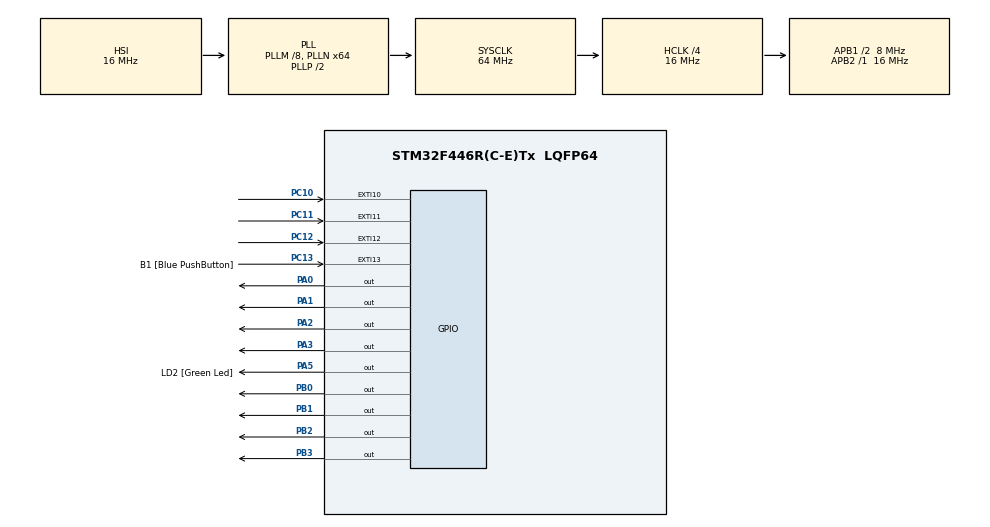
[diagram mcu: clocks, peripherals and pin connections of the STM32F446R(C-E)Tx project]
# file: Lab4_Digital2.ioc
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Mcu.Family=STM32F4
Mcu.Name=STM32F446R(C-E)Tx
Mcu.Package=LQFP64
NVIC.PriorityGroup=NVIC_PRIORITYGROUP_0
PA0-WKUP.Signal=GPIO_Output
PA1.Signal=GPIO_Output
PA13.GPIO_Label=TMS
PA13.Signal=SYS_JTMS-SWDIO
PA14.GPIO_Label=TCK
PA14.Signal=SYS_JTCK-SWCLK
PA2.Signal=GPIO_Output
PA3.Signal=GPIO_Output
PA5.GPIO_Label=LD2 [Green Led]
PA5.Signal=GPIO_Output
PB0.Signal=GPIO_Output
PB1.Signal=GPIO_Output
PB2.Signal=GPIO_Output
PB3.Signal=GPIO_Output
PC10.GPIO_ModeDefaultEXTI=GPIO_MODE_IT_FALLING
PC10.GPIO_PuPd=GPIO_PULLUP
PC10.Signal=GPXTI10
PC11.GPIO_ModeDefaultEXTI=GPIO_MODE_IT_FALLING
PC11.GPIO_PuPd=GPIO_PULLUP
PC11.Signal=GPXTI11
PC12.GPIO_ModeDefaultEXTI=GPIO_MODE_IT_FALLING
PC12.GPIO_PuPd=GPIO_PULLUP
PC12.Signal=GPXTI12
PC13.GPIO_Label=B1 [Blue PushButton]
PC13.GPIO_ModeDefaultEXTI=GPIO_MODE_IT_FALLING
PC13.GPIO_PuPd=GPIO_PULLUP
PC13.Signal=GPXTI13
PC14-OSC32_IN.Signal=RCC_OSC32_IN
PC15-OSC32_OUT.Signal=RCC_OSC32_OUT
PH0-OSC_IN.Signal=RCC_OSC_IN
PH1-OSC_OUT.Signal=RCC_OSC_OUT
ProjectManager.HeapSize=0x200
ProjectManager.StackSize=0x400
ProjectManager.TargetToolchain=STM32CubeIDE
RCC.AHBCLKDivider=RCC_SYSCLK_DIV4
RCC.AHBFreq_Value=16000000
RCC.APB1CLKDivider=RCC_HCLK_DIV2
RCC.APB1Freq_Value=8000000
RCC.APB1TimFreq_Value=16000000
RCC.APB2Freq_Value=16000000
RCC.APB2TimFreq_Value=16000000
RCC.CortexFreq_Value=16000000
RCC.FLatency-AdvancedSettings=FLASH_LATENCY_0
RCC.HCLKFreq_Value=16000000
RCC.HSE_VALUE=8000000
RCC.HSI_VALUE=16000000
RCC.LSE_VALUE=32768
RCC.PLLM=8
RCC.PLLN=64
RCC.SYSCLKFreq_VALUE=64000000
RCC.SYSCLKSource=RCC_SYSCLKSOURCE_PLLCLK
RCC.USBFreq_Value=64000000
RCC.VCOOutputFreq_Value=128000000
board=NUCLEO-F446RE

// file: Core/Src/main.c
/* USER CODE BEGIN Header */
/**
  ******************************************************************************
  * @file           : main.c
  * @brief          : Main program body
  ******************************************************************************
  * @attention
  *
  * Copyright (c) 2026 STMicroelectronics.
  * All rights reserved.
  *
  * This software is licensed under terms that can be found in the LICENSE file
  * in the root directory of this software component.
  * If no LICENSE file comes with this software, it is provided AS-IS.
  *
  ******************************************************************************
  */
/* USER CODE END Header */
#include "main.h"
/* USER CODE BEGIN PV */
/* Variables */
volatile uint8_t contadorJ1 = 0;
volatile uint8_t contadorJ2 = 0;
volatile uint8_t carreraActiva = 0;
#define DEBOUNCE_MS 100U
/* Antirrebote */
volatile uint32_t tiempoInicio = 0;
volatile uint32_t tiempoJ1 = 0;
volatile uint32_t tiempoJ2 = 0;

/* USER CODE END PV */

void SystemClock_Config(void);
static void MX_GPIO_Init(void);

int main(void)
{

  /* MCU Configuration--------------------------------------------------------*/

  /* Reset of all peripherals, Initializes the Flash interface and the Systick. */
  HAL_Init();

  /* Configure the system clock */
  SystemClock_Config();

  /* Initialize all configured peripherals */
  MX_GPIO_Init();
  /* USER CODE BEGIN 2 */

  GPIOA->ODR |= 0x0F;

  /* USER CODE END 2 */

  /* Infinite loop */
  while (1)
  {

  }
}

void SystemClock_Config(void)
{
  RCC_OscInitTypeDef RCC_OscInitStruct = {0};
  RCC_ClkInitTypeDef RCC_ClkInitStruct = {0};

  /** Configure the main internal regulator output voltage
  */
  __HAL_RCC_PWR_CLK_ENABLE();
  __HAL_PWR_VOLTAGESCALING_CONFIG(PWR_REGULATOR_VOLTAGE_SCALE3);

  /** Initializes the RCC Oscillators according to the specified parameters
  * in the RCC_OscInitTypeDef structure.
  */
  RCC_OscInitStruct.OscillatorType = RCC_OSCILLATORTYPE_HSI;
  RCC_OscInitStruct.HSIState = RCC_HSI_ON;
  RCC_OscInitStruct.HSICalibrationValue = RCC_HSICALIBRATION_DEFAULT;
  RCC_OscInitStruct.PLL.PLLState = RCC_PLL_ON;
  RCC_OscInitStruct.PLL.PLLSource = RCC_PLLSOURCE_HSI;
  RCC_OscInitStruct.PLL.PLLM = 8;
  RCC_OscInitStruct.PLL.PLLN = 64;
  RCC_OscInitStruct.PLL.PLLP = RCC_PLLP_DIV2;
  RCC_OscInitStruct.PLL.PLLQ = 2;
  RCC_OscInitStruct.PLL.PLLR = 2;
  if (HAL_RCC_OscConfig(&RCC_OscInitStruct) != HAL_OK)
  {
    Error_Handler();
  }

  /** Initializes the CPU, AHB and APB buses clocks
  */
  RCC_ClkInitStruct.ClockType = RCC_CLOCKTYPE_HCLK|RCC_CLOCKTYPE_SYSCLK
                              |RCC_CLOCKTYPE_PCLK1|RCC_CLOCKTYPE_PCLK2;
  RCC_ClkInitStruct.SYSCLKSource = RCC_SYSCLKSOURCE_PLLCLK;
  RCC_ClkInitStruct.AHBCLKDivider = RCC_SYSCLK_DIV4;
  RCC_ClkInitStruct.APB1CLKDivider = RCC_HCLK_DIV2;
  RCC_ClkInitStruct.APB2CLKDivider = RCC_HCLK_DIV1;

  if (HAL_RCC_ClockConfig(&RCC_ClkInitStruct, FLASH_LATENCY_0) != HAL_OK)
  {
    Error_Handler();
  }
}

static void MX_GPIO_Init(void)
{
  GPIO_InitTypeDef GPIO_InitStruct = {0};

  /* GPIO Ports Clock Enable */
  __HAL_RCC_GPIOC_CLK_ENABLE();
  __HAL_RCC_GPIOH_CLK_ENABLE();
  __HAL_RCC_GPIOA_CLK_ENABLE();
  __HAL_RCC_GPIOB_CLK_ENABLE();

  /*Configure GPIO pin Output Level */
  HAL_GPIO_WritePin(GPIOA, GPIO_PIN_0|GPIO_PIN_1|GPIO_PIN_2|GPIO_PIN_3, GPIO_PIN_RESET);

  /*Configure GPIO pin Output Level */
  HAL_GPIO_WritePin(GPIOB, GPIO_PIN_0|GPIO_PIN_1|GPIO_PIN_2|GPIO_PIN_3, GPIO_PIN_RESET);

  /*Configure GPIO pins : B1_Pin PC10 PC11 PC12 */
  GPIO_InitStruct.Pin = GPIO_PIN_10|GPIO_PIN_11|GPIO_PIN_12;
  GPIO_InitStruct.Mode = GPIO_MODE_IT_FALLING;
  GPIO_InitStruct.Pull = GPIO_PULLUP;
  HAL_GPIO_Init(GPIOC, &GPIO_InitStruct);

  /*Configure GPIO pins : PA0 PA1 PA2 PA3
                           LD2_Pin */
  GPIO_InitStruct.Pin = GPIO_PIN_0|GPIO_PIN_1|GPIO_PIN_2|GPIO_PIN_3;
  GPIO_InitStruct.Mode = GPIO_MODE_OUTPUT_PP;
  GPIO_InitStruct.Pull = GPIO_NOPULL;
  GPIO_InitStruct.Speed = GPIO_SPEED_FREQ_LOW;
  HAL_GPIO_Init(GPIOA, &GPIO_InitStruct);

  /*Configure GPIO pins : PB0 PB1 PB2 PB3 */
  GPIO_InitStruct.Pin = GPIO_PIN_0|GPIO_PIN_1|GPIO_PIN_2|GPIO_PIN_3;
  GPIO_InitStruct.Mode = GPIO_MODE_OUTPUT_PP;
  GPIO_InitStruct.Pull = GPIO_NOPULL;
  GPIO_InitStruct.Speed = GPIO_SPEED_FREQ_LOW;
  HAL_GPIO_Init(GPIOB, &GPIO_InitStruct);

  /* USER CODE BEGIN MX_GPIO_Init_2 */

  /* EXTI15_10_IRQn interrupt configuration */
  HAL_NVIC_SetPriority(EXTI15_10_IRQn, 0, 0);
  HAL_NVIC_EnableIRQ(EXTI15_10_IRQn);

  /* USER CODE END MX_GPIO_Init_2 */
}

/* USER CODE BEGIN 4 */

/* USER CODE BEGIN 4 */

void HAL_GPIO_EXTI_Callback(uint16_t GPIO_Pin)
{
    uint32_t ahora = HAL_GetTick();

    /* ========================================
     * INICIO - PC10
     * ======================================== */
    if (GPIO_Pin == GPIO_PIN_10)
    {
        if ((ahora - tiempoInicio) >= DEBOUNCE_MS)
        {
            tiempoInicio = ahora;

            contadorJ1 = 0;
            contadorJ2 = 0;

            GPIOA->ODR &= ~0x0FU;
            GPIOB->ODR &= ~0x0FU;

            carreraActiva = 1;
        }
    }

    /* ========================================
     * JUGADOR 1 - PC11
     * ======================================== */
    else if (GPIO_Pin == GPIO_PIN_11)
    {
        if ((ahora - tiempoJ1) >= DEBOUNCE_MS)
        {
            tiempoJ1 = ahora;

            if (carreraActiva)
            {
                if (contadorJ1 < 4)
                {
                    contadorJ1++;

                    GPIOA->ODR &= ~0x0FU;
                    GPIOA->ODR |= (1U << (contadorJ1 - 1));
                }

                if (contadorJ1 == 4)
                {
                    carreraActiva = 0;
                }
            }
        }
    }

    /* ========================================
     * JUGADOR 2 - PC12
     * ======================================== */
    else if (GPIO_Pin == GPIO_PIN_12)
    {
        if ((ahora - tiempoJ2) >= DEBOUNCE_MS)
        {
            tiempoJ2 = ahora;

            if (carreraActiva)
            {
                if (contadorJ2 < 4)
                {
                    contadorJ2++;

                    GPIOB->ODR &= ~0x0FU;
                    GPIOB->ODR |= (1U << (contadorJ2 - 1));
                }

                if (contadorJ2 == 4)
                {
                    carreraActiva = 0;
                }
            }
        }
    }
}

/* USER CODE END 4 */

void Error_Handler(void)
{
  __disable_irq();
  while (1)
  {
  }
}
